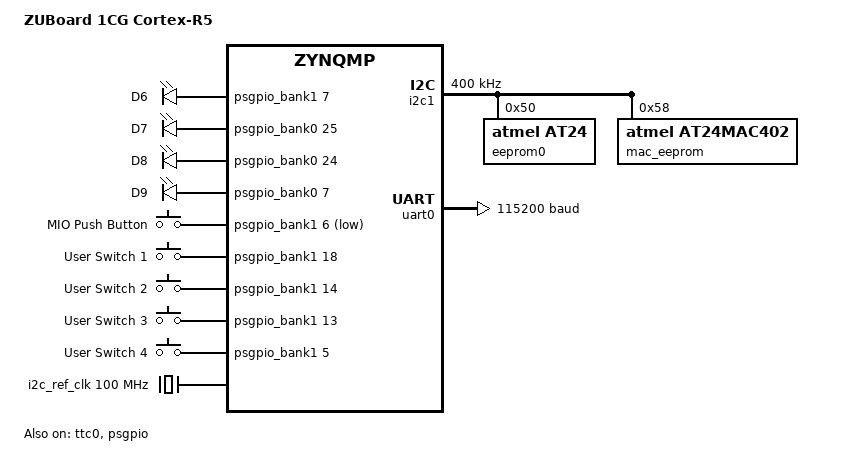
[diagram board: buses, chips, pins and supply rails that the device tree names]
/*
 * Copyright The Zephyr Project Contributors
 *
 * SPDX-License-Identifier: Apache-2.0
 */

/dts-v1/;
#include <arm/xilinx/zynqmp_rpu.dtsi>
#include <freq.h>
#include <zephyr/dt-bindings/gpio/gpio.h>
#include <zephyr/dt-bindings/i2c/i2c.h>
#include <zephyr/dt-bindings/memory-attr/memory-attr-arm.h>

/ {
	model = "ZUBoard 1CG Cortex-R5";
	compatible = "xlnx,zynqmp-r5";

	chosen {
		zephyr,sram = &sram1;
		zephyr,flash = &flash0;
		zephyr,console = &uart0;
		zephyr,shell-uart = &uart0;
		zephyr,ocm = &ocm;
	};

	aliases {
		led0 = &red_led_0;
		sw0 = &mio_push_btn;
		eeprom-0 = &eeprom0;
	};

	leds: leds{
		compatible = "gpio-leds";

		red_led_0: d6 {
			gpios = <&psgpio_bank1 7 GPIO_ACTIVE_HIGH>;
			label = "D6";
		};

		red_led_1: d7 {
			gpios = <&psgpio_bank0 25 GPIO_ACTIVE_HIGH>;
			label = "D7";
		};

		red_led_2: d8 {
			gpios = <&psgpio_bank0 24 GPIO_ACTIVE_HIGH>;
			label = "D8";
		};

		red_led_3: d9 {
			gpios = <&psgpio_bank0 7 GPIO_ACTIVE_HIGH>;
			label = "D9";
		};
	};

	keys {
		compatible = "gpio-keys";

		mio_push_btn: mio_push_btn {
			gpios = <&psgpio_bank1 6 GPIO_ACTIVE_LOW>;
			label = "MIO Push Button";
		};

		user_switch_1: sw1 {
			gpios = <&psgpio_bank1 18 GPIO_ACTIVE_HIGH>;
			label = "User Switch 1";
		};

		user_switch_2: sw2 {
			gpios = <&psgpio_bank1 14 GPIO_ACTIVE_HIGH>;
			label = "User Switch 2";
		};

		user_switch_3: sw3 {
			gpios = <&psgpio_bank1 13 GPIO_ACTIVE_HIGH>;
			label = "User Switch 3";
		};

		user_switch_4: sw4 {
			gpios = <&psgpio_bank1 5 GPIO_ACTIVE_HIGH>;
			label = "User Switch 4";
		};
	};

	i2c_ref_clk: i2c_ref_clk {
		compatible = "fixed-clock";
		clock-frequency = <100000000>;
		#clock-cells = <0>;
	};

	soc {
		/* rproc_0_reserved in Petalinux zynqmp_openamp.dtsi */
		sram1: memory@3ed00000 {
			compatible = "zephyr,memory-region", "mmio-sram";
			reg = <0x3ed00000 DT_SIZE_K(256)>;
			zephyr,memory-region = "SRAM1";
			zephyr,memory-attr = <( DT_MEM_ARM(ATTR_MPU_RAM) )>;
		};
	};
};

&ttc0 {
	status = "okay";
	clock-frequency = <100000000>;
};

&psgpio {
	status = "okay";
};

&i2c1 {
	status = "okay";
	clocks = <&i2c_ref_clk>;
	clock-frequency = <400000>;

	eeprom0: eeprom@50 {
		compatible = "atmel,at24";
		reg = <0x50>;
		size = <256>;
		pagesize = <16>;
		address-width = <8>;
		timeout = <5>;
	};

	mac_eeprom: mac-eeprom@58 {
		compatible = "atmel,at24mac402";
		reg = <0x58>;
		#address-cells = <1>;
		#size-cells = <1>;

		mac_address: mac-address@9a {
			reg = <0x9a 0x06>;
		};
	};
};

&uart0 {
	status = "okay";
	current-speed = <115200>;
	clock-frequency = <DT_FREQ_M(100)>;
};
